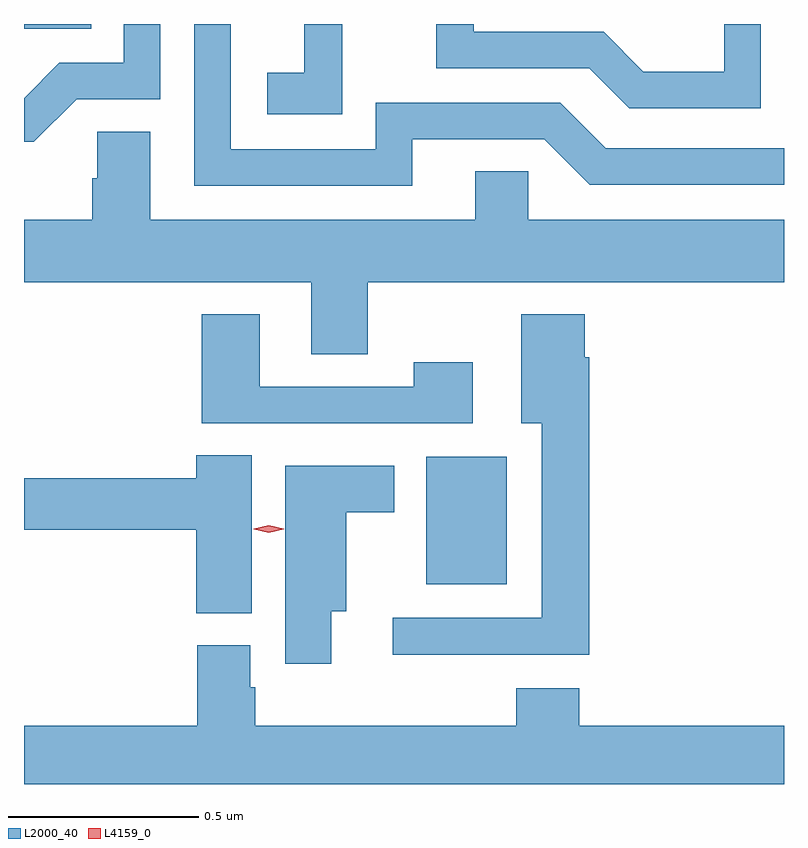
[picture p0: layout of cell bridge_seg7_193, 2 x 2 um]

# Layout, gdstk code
import gdstk
lib = gdstk.Library(unit=1e-6, precision=1e-09)
def R(c, l, rs):  # rectangles x0, y0, x1, y1
    for r in rs: c.add(gdstk.rectangle(r[:2], r[2:], *l))
def P(c, l, *ps):  # polygons
    for p in ps: c.add(gdstk.Polygon(p, *l))
L2000_40 = (2000, 40)
L4159_0 = (4159, 0)

bridge_seg7_193 = lib.new_cell('bridge_seg7_193')
R(bridge_seg7_193, L2000_40, [(382.628,1010.477,382.84,1010.812), (381.569,1011.938,381.746,1011.951)])
P(bridge_seg7_193, L2000_40, [(382.407,1011.919),(382.406,1011.919),(382.406,1011.951),(382.307,1011.951),(382.307,1011.823),(382.209,1011.823),(382.209,1011.713),(382.407,1011.713)],
  [(381.708,1011.753),(381.927,1011.753),(381.927,1011.951),(381.831,1011.951),(381.831,1011.849),(381.662,1011.849),(381.569,1011.756),(381.569,1011.641),(381.595,1011.641)],
  [(383.508,1011.951),(383.412,1011.951),(383.412,1011.826),(383.198,1011.826),(383.094,1011.93),(382.752,1011.93),(382.752,1011.951),(382.654,1011.951),(382.654,1011.834),(383.057,1011.834),(383.162,1011.729),(383.508,1011.729)],
  [(382.591,1011.648),(382.938,1011.648),(383.058,1011.528),(383.569,1011.528),(383.569,1011.624),(383.1,1011.624),(382.98,1011.744),(382.494,1011.744),(382.494,1011.621),(382.113,1011.621),(382.113,1011.951),(382.017,1011.951),(382.017,1011.525),(382.591,1011.525)],
  [(382.473,1011.272),(383.569,1011.272),(383.569,1011.436),(382.896,1011.436),(382.896,1011.563),(382.757,1011.563),(382.757,1011.436),(381.901,1011.436),(381.901,1011.668),(381.762,1011.668),(381.762,1011.545),(381.749,1011.545),(381.749,1011.436),(381.569,1011.436),(381.569,1011.272),(382.325,1011.272),(382.325,1011.082),(382.473,1011.082)],
  [(383.057,1011.074),(383.044,1011.074),(383.044,1011.187),(382.877,1011.187),(382.877,1010.9),(382.931,1010.9),(382.931,1010.388),(382.539,1010.388),(382.539,1010.291),(383.057,1010.291)],
  [(382.75,1011.061),(382.594,1011.061),(382.594,1010.997),(382.189,1010.997),(382.189,1011.187),(382.037,1011.187),(382.037,1010.901),(382.75,1010.901)],
  [(382.168,1010.816),(382.022,1010.816),(382.022,1010.756),(381.569,1010.756),(381.569,1010.62),(382.022,1010.62),(382.022,1010.401),(382.168,1010.401)],
  [(382.378,1010.405),(382.417,1010.405),(382.417,1010.666),(382.543,1010.666),(382.543,1010.788),(382.256,1010.788),(382.256,1010.268),(382.378,1010.268)],
  [(383.569,1010.104),(383.03,1010.104),(383.03,1010.203),(382.865,1010.203),(382.865,1010.104),(382.178,1010.104),(382.178,1010.205),(382.165,1010.205),(382.165,1010.316),(382.025,1010.316),(382.025,1010.104),(381.569,1010.104),(381.569,1009.951),(383.569,1009.951)])
P(bridge_seg7_193, L4159_0, [(382.213,1010.612),(382.173,1010.622),(382.173,1010.622),(382.173,1010.623),(382.213,1010.632),(382.252,1010.623),(382.252,1010.622),(382.252,1010.622)])

lib.write_gds('bridge_seg7_193.gds')
